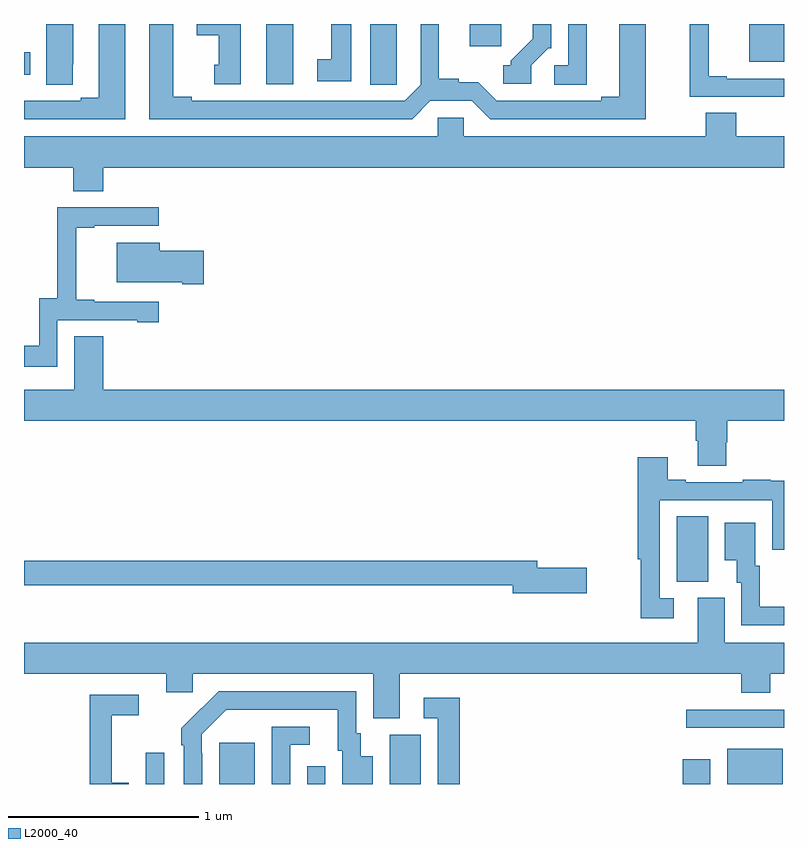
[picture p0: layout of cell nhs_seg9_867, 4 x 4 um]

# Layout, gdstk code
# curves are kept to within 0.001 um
import gdstk
lib = gdstk.Library(unit=1e-6, precision=1e-09)
def R(c, l, rs):  # rectangles x0, y0, x1, y1
    for r in rs: c.add(gdstk.rectangle(r[:2], r[2:], *l))
def P(c, l, *ps):  # polygons
    for p in ps: c.add(gdstk.Polygon(p, *l))
L2000_40 = (2000, 40)

nhs_seg9_867 = lib.new_cell('nhs_seg9_867')
R(nhs_seg9_867, L2000_40, [(157.641,1202.5,157.737,1202.665), (158.027,1202.5,158.215,1202.716), (158.49,1202.5,158.586,1202.593), (158.924,1202.5,159.088,1202.76), (160.466,1202.5,160.612,1202.629), (160.7,1202.5,160.993,1202.686), (160.485,1202.796,161,1202.892), (160.436,1203.565,160.6,1203.908), (158.276,1206.183,158.416,1206.5), (157,1206.234,157.033,1206.351), (160.817,1206.302,161,1206.5), (159.347,1206.384,159.511,1206.5)])
P(nhs_seg9_867, L2000_40, [(159.139,1206.096),(159.357,1206.096),(159.453,1206),(160.273,1206),(160.273,1206.5),(160.133,1206.5),(160.133,1206.116),(160.037,1206.116),(160.037,1206.096),(159.489,1206.096),(159.392,1206.194),(159.288,1206.194),(159.288,1206.212),(159.184,1206.212),(159.184,1206.5),(159.087,1206.5),(159.087,1206.18),(159.003,1206.096),(157.882,1206.096),(157.882,1206.116),(157.786,1206.116),(157.786,1206.5),(157.658,1206.5),(157.658,1206),(159.043,1206)],
  [(157.257,1206.289),(157.258,1206.289),(157.258,1206.5),(157.118,1206.5),(157.118,1206.181),(157.257,1206.181)],
  [(157.534,1206.5),(157.394,1206.5),(157.394,1206.111),(157.298,1206.111),(157.298,1206.096),(157.022,1206.096),(157.022,1206.097),(157,1206.097),(157,1206),(157.534,1206)],
  [(158.14,1206.5),(157.91,1206.5),(157.91,1206.44),(158.024,1206.44),(158.024,1206.285),(158,1206.285),(158,1206.183),(158.14,1206.183)],
  [(158.961,1206.289),(158.962,1206.289),(158.962,1206.5),(158.822,1206.5),(158.822,1206.181),(158.961,1206.181)],
  [(159.669,1206.282),(159.759,1206.372),(159.774,1206.372),(159.774,1206.5),(159.677,1206.5),(159.677,1206.422),(159.561,1206.306),(159.561,1206.282),(159.522,1206.282),(159.522,1206.186),(159.669,1206.186)],
  [(158.722,1206.5),(158.618,1206.5),(158.618,1206.314),(158.544,1206.314),(158.544,1206.198),(158.722,1206.198)],
  [(161,1206.213),(160.699,1206.213),(160.699,1206.226),(160.604,1206.226),(160.604,1206.5),(160.504,1206.5),(160.504,1206.117),(161,1206.117)],
  [(159.961,1206.5),(159.864,1206.5),(159.864,1206.282),(159.792,1206.282),(159.792,1206.181),(159.961,1206.181)],
  [(157.418,1205.744),(161,1205.744),(161,1205.908),(160.748,1205.908),(160.748,1206.032),(160.588,1206.032),(160.588,1205.908),(159.315,1205.908),(159.315,1206.006),(159.177,1206.006),(159.177,1205.908),(157,1205.908),(157,1205.744),(157.258,1205.744),(157.258,1205.62),(157.418,1205.62)],
  [(157.176,1204.941),(157.595,1204.941),(157.595,1204.929),(157.708,1204.929),(157.708,1205.037),(157.369,1205.037),(157.369,1205.05),(157.274,1205.05),(157.274,1205.427),(157.369,1205.427),(157.369,1205.439),(157.708,1205.439),(157.708,1205.535),(157.174,1205.535),(157.174,1205.057),(157.079,1205.057),(157.079,1204.806),(157,1204.806),(157,1204.695),(157.176,1204.695)],
  [(157.945,1205.307),(157.714,1205.307),(157.714,1205.35),(157.487,1205.35),(157.487,1205.141),(157.832,1205.141),(157.832,1205.129),(157.945,1205.129)],
  [(160.695,1204.299),(160.7,1204.299),(160.7,1204.412),(161,1204.412),(161,1204.576),(157.418,1204.576),(157.418,1204.856),(157.265,1204.856),(157.265,1204.576),(157,1204.576),(157,1204.412),(160.535,1204.412),(160.535,1204.306),(160.547,1204.306),(160.547,1204.174),(160.695,1204.174)],
  [(160.42,1203.477),(160.347,1203.477),(160.347,1203.993),(160.938,1203.993),(160.938,1203.732),(161,1203.732),(161,1204.095),(160.931,1204.095),(160.931,1204.102),(160.783,1204.102),(160.783,1204.089),(160.483,1204.089),(160.483,1204.102),(160.387,1204.102),(160.387,1204.219),(160.231,1204.219),(160.231,1203.684),(160.246,1203.684),(160.246,1203.372),(160.42,1203.372)],
  [(161,1203.432),(160.873,1203.432),(160.873,1203.648),(160.849,1203.648),(160.849,1203.874),(160.688,1203.874),(160.688,1203.677),(160.751,1203.677),(160.751,1203.558),(160.776,1203.558),(160.776,1203.336),(161,1203.336)],
  [(159.961,1203.638),(159.7,1203.638),(159.7,1203.674),(157,1203.674),(157,1203.546),(159.572,1203.546),(159.572,1203.503),(159.961,1203.503)],
  [(158.977,1203.08),(160.775,1203.08),(160.775,1202.981),(160.927,1202.981),(160.927,1203.08),(161,1203.08),(161,1203.244),(160.687,1203.244),(160.687,1203.48),(160.547,1203.48),(160.547,1203.244),(157,1203.244),(157,1203.08),(157.748,1203.08),(157.748,1202.982),(157.887,1202.982),(157.887,1203.08),(158.837,1203.08),(158.837,1202.845),(158.977,1202.845)],
  [(157.938,1202.663),(157.935,1202.663),(157.935,1202.763),(158.064,1202.892),(158.651,1202.892),(158.651,1202.676),(158.675,1202.676),(158.675,1202.5),(158.836,1202.5),(158.836,1202.647),(158.773,1202.647),(158.773,1202.766),(158.748,1202.766),(158.748,1202.988),(158.024,1202.988),(157.827,1202.793),(157.827,1202.705),(157.842,1202.705),(157.842,1202.5),(157.938,1202.5)],
  [(157.552,1202.506),(157.463,1202.506),(157.463,1202.862),(157.603,1202.862),(157.603,1202.97),(157.345,1202.97),(157.345,1202.5),(157.552,1202.5)],
  [(159.293,1202.953),(159.105,1202.953),(159.105,1202.847),(159.177,1202.847),(159.177,1202.5),(159.293,1202.5)],
  [(158.4,1202.706),(158.503,1202.706),(158.503,1202.802),(158.304,1202.802),(158.304,1202.5),(158.4,1202.5)])

lib.write_gds('nhs_seg9_867.gds')
